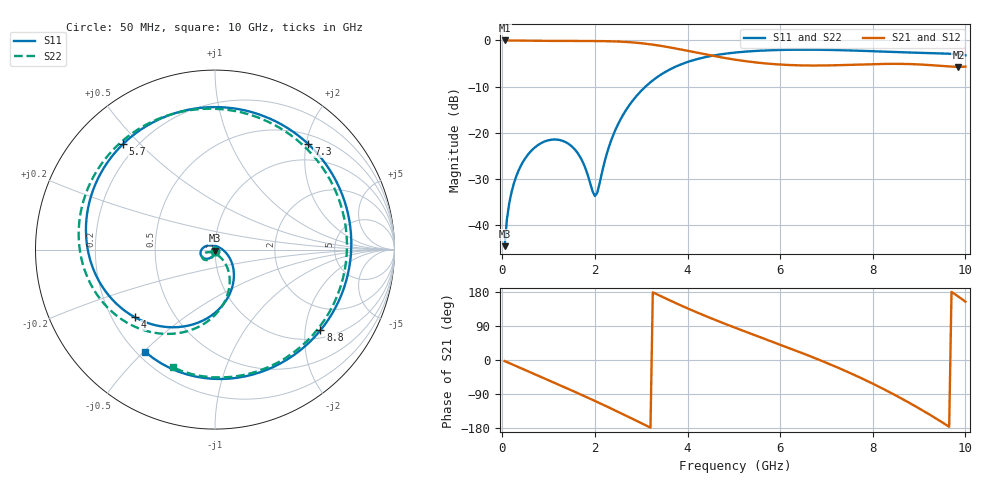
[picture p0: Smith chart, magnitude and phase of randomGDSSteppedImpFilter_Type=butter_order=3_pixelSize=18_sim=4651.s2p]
! freq	dB(S11)	phase(S11)	dB(S12)	phase(S12)
!  dB(S21)	phase(S21)	dB(S22)	phase(S22)
!S-par simulation data
#  GHz  S  DB  R 50
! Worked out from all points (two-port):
!   200 points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, 50 MHz to 10 GHz, reference 50 ohm
!   highest |S21| = -0.01 dB at 50 MHz (marker M1); lowest = -5.7 dB at 9.85 GHz (marker M2)
!   |S21| within 3 dB of the highest: start of sweep to 4.377 GHz
!   lowest |S11| = -44.6 dB at 50 MHz (marker M3), VSWR 1.01, Z = 50 - j0.59 ohm
!   |S11| at or under -10 dB: start of sweep to 3.093 GHz
!   |S22| runs from -44.6 to -2.0 dB; largest |S21 - S12| = 0
!   S11 on the Smith chart (normalised r, x): 50 MHz: 1.00, -0.01; 4 GHz: 0.30, -0.34; 5.7 GHz: 0.15, +0.45; 7.3 GHz: 0.67, +2.04; 8.8 GHz: 1.22, -2.41; 10 GHz: 0.23, -0.51
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0.05  -44.57 -91.0  -0.01 -2.7  -0.01 -2.7  -44.56 -90.3
0.15  -35.28 -98.0  -0.02 -8.1  -0.02 -8.1  -35.27 -96.5
0.25  -30.98 -104.5  -0.02 -13.5  -0.02 -13.5  -30.97 -102.0
0.6  -24.19 -125.9  -0.06 -32.2  -0.06 -32.2  -24.18 -119.6
1.25  -21.60 -166.2  -0.11 -66.9  -0.11 -66.9  -21.60 -149.2
1.75  -26.61 151.3  -0.12 -94.1  -0.12 -94.1  -26.64 -161.0
2  -33.71 75.5  -0.13 -108.0  -0.13 -108.0  -33.67 -112.2
2.55  -17.17 -43.7  -0.26 -139.8  -0.26 -139.8  -17.11 -57.8
3  -10.91 -76.6  -0.60 -166.5  -0.60 -166.5  -10.86 -78.2
3.4  -7.57 -103.1  -1.14 169.8  -1.14 169.8  -7.53 -98.8
4  -4.67 -139.7  -2.25 136.2  -2.25 136.2  -4.63 -128.9
4.55  -3.29 -170.3  -3.34 108.0  -3.34 108.0  -3.24 -154.2
5.05  -2.60 163.8  -4.20 84.2  -4.20 84.2  -2.56 -175.5
5.7  -2.16 131.2  -5.00 54.3  -5.00 54.3  -2.12 158.0
6.7  -2.01 80.4  -5.44 7.5  -5.44 7.5  -2.00 115.8
7.3  -2.11 48.5  -5.35 -23.0  -5.35 -23.0  -2.13 87.0
7.8  -2.26 20.9  -5.20 -50.7  -5.20 -50.7  -2.31 59.4
8.35  -2.47 -10.5  -5.07 -84.1  -5.07 -84.1  -2.55 24.2
8.8  -2.62 -37.4  -5.12 -113.8  -5.12 -113.8  -2.71 -8.7
9.4  -2.78 -76.6  -5.46 -156.9  -5.46 -156.9  -2.85 -57.2
9.85  -3.03 -111.1  -5.73 167.3  -5.73 167.3  -2.99 -96.0
10  -3.23 -124.3  -5.68 154.0  -5.68 154.0  -3.14 -109.7
